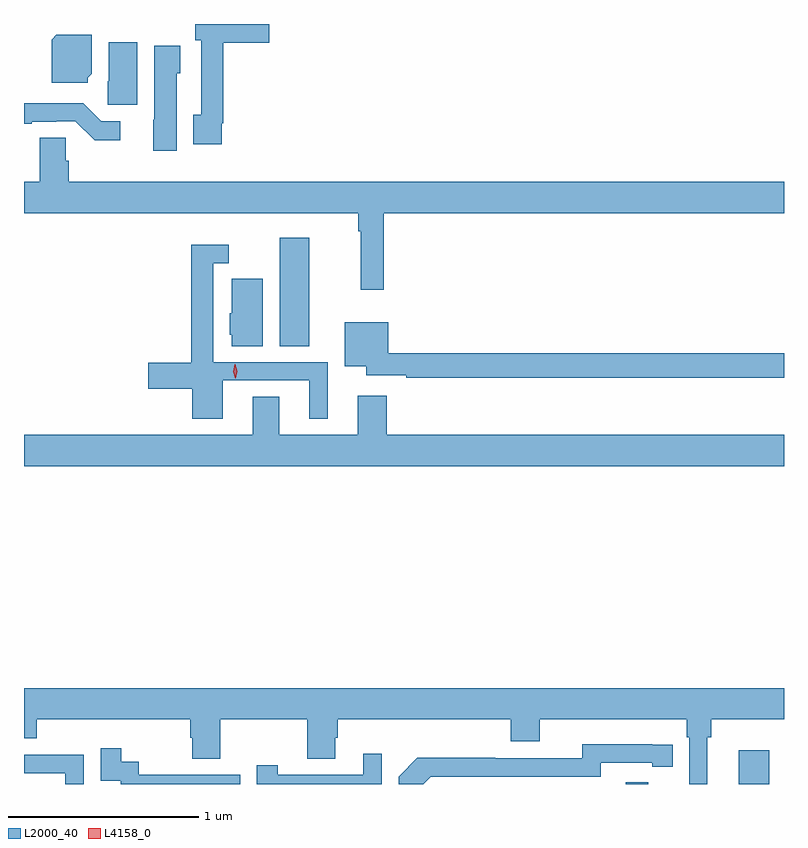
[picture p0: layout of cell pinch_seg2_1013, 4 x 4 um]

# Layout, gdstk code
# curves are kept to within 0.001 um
import gdstk
lib = gdstk.Library(unit=1e-6, precision=1e-09)
def R(c, l, rs):  # rectangles x0, y0, x1, y1
    for r in rs: c.add(gdstk.rectangle(r[:2], r[2:], *l))
def P(c, l, *ps):  # polygons
    for p in ps: c.add(gdstk.Polygon(p, *l))
L2000_40 = (2000, 40)
L4158_0 = (4158, 0)

pinch_seg2_1013 = lib.new_cell('pinch_seg2_1013')
R(pinch_seg2_1013, L2000_40, [(339.679,604.671,339.797,604.681), (340.274,604.671,340.433,604.849), (337.856,606.976,338.011,607.546)])
P(pinch_seg2_1013, L2000_40, [(337.552,608.149),(337.559,608.149),(337.559,608.573),(337.801,608.573),(337.801,608.671),(337.412,608.671),(337.412,608.585),(337.443,608.585),(337.443,608.193),(337.403,608.193),(337.403,608.037),(337.552,608.037)],
  [(336.846,608.388),(336.868,608.41),(336.868,608.614),(336.682,608.614),(336.656,608.588),(336.656,608.363),(336.846,608.363)],
  [(337.108,608.575),(336.956,608.575),(336.956,608.37),(336.952,608.37),(336.952,608.247),(337.108,608.247)],
  [(337.315,608.412),(337.333,608.412),(337.333,608.557),(337.196,608.557),(337.196,608.166),(337.19,608.166),(337.19,608.004),(337.315,608.004)],
  [(337.018,608.16),(336.918,608.16),(336.824,608.254),(336.511,608.254),(336.511,608.145),(336.553,608.145),(336.553,608.157),(336.68,608.157),(336.68,608.16),(336.78,608.16),(336.883,608.058),(337.018,608.058)],
  [(338.405,607.676),(340.511,607.676),(340.511,607.84),(336.746,607.84),(336.746,607.95),(336.732,607.95),(336.732,608.072),(336.593,608.072),(336.593,607.84),(336.511,607.84),(336.511,607.676),(338.269,607.676),(338.269,607.58),(338.284,607.58),(338.284,607.272),(338.405,607.272)],
  [(337.558,606.795),(338.012,606.795),(338.012,606.594),(338.11,606.594),(338.11,606.891),(337.506,606.891),(337.506,607.413),(337.588,607.413),(337.588,607.51),(337.39,607.51),(337.39,606.887),(337.164,606.887),(337.164,606.752),(337.397,606.752),(337.397,606.594),(337.558,606.594)],
  [(337.768,607.33),(337.604,607.33),(337.604,607.149),(337.595,607.149),(337.595,607.035),(337.604,607.035),(337.604,606.976),(337.768,606.976)],
  [(340.511,606.938),(338.428,606.938),(338.428,607.102),(338.198,607.102),(338.198,606.869),(338.312,606.869),(338.312,606.822),(338.524,606.822),(338.524,606.81),(340.511,606.81)],
  [(340.511,606.508),(338.42,606.508),(338.42,606.715),(338.267,606.715),(338.267,606.508),(337.855,606.508),(337.855,606.71),(337.715,606.71),(337.715,606.508),(336.511,606.508),(336.511,606.344),(340.511,606.344)],
  [(336.511,604.913),(336.578,604.913),(336.578,605.012),(337.385,605.012),(337.385,604.914),(337.397,604.914),(337.397,604.804),(337.545,604.804),(337.545,605.012),(338.002,605.012),(338.002,604.804),(338.149,604.804),(338.149,604.914),(338.162,604.914),(338.162,605.012),(339.074,605.012),(339.074,604.895),(339.226,604.895),(339.226,605.012),(339.998,605.012),(339.998,604.916),(340.011,604.916),(340.011,604.671),(340.108,604.671),(340.108,604.916),(340.127,604.916),(340.127,605.012),(340.511,605.012),(340.511,605.176),(336.511,605.176)],
  [(338.652,604.71),(339.546,604.71),(339.546,604.782),(339.818,604.782),(339.818,604.762),(339.926,604.762),(339.926,604.878),(339.45,604.879),(339.45,604.806),(338.99,604.806),(338.99,604.808),(338.582,604.808),(338.484,604.71),(338.484,604.671),(338.613,604.671)],
  [(337.65,604.719),(337.116,604.719),(337.116,604.788),(337.024,604.788),(337.024,604.858),(336.915,604.858),(336.915,604.689),(337.02,604.689),(337.02,604.671),(337.65,604.671)],
  [(338.394,604.831),(338.297,604.831),(338.297,604.719),(337.846,604.719),(337.846,604.771),(337.735,604.771),(337.735,604.671),(338.394,604.671)],
  [(336.825,604.824),(336.511,604.824),(336.511,604.728),(336.729,604.728),(336.729,604.671),(336.825,604.671)])
P(pinch_seg2_1013, L4158_0, [(337.624,606.807),(337.613,606.842),(337.621,606.879),(337.622,606.879),(337.622,606.879),(337.633,606.843),(337.625,606.807),(337.625,606.807)])

lib.write_gds('pinch_seg2_1013.gds')
